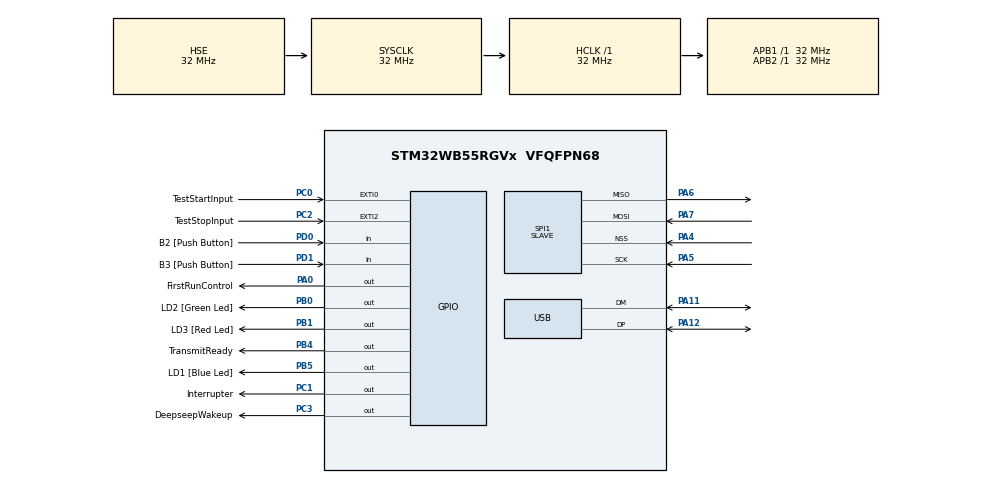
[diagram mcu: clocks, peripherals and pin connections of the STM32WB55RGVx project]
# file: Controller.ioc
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Mcu.Family=STM32WB
Mcu.Name=STM32WB55RGVx
Mcu.Package=VFQFPN68
NVIC.EXTI0_IRQn=true\:0\:0\:false\:false\:true\:true\:true\:true
NVIC.EXTI2_IRQn=true\:0\:0\:false\:false\:true\:true\:true\:true
NVIC.PriorityGroup=NVIC_PRIORITYGROUP_4
OSC_IN.Mode=HSE-External-Oscillator
OSC_IN.Signal=RCC_OSC_IN
OSC_OUT.Mode=HSE-External-Oscillator
OSC_OUT.Signal=RCC_OSC_OUT
PA0.GPIO_Label=FirstRunControl
PA0.GPIO_PuPd=GPIO_PULLDOWN
PA0.Signal=GPIO_Output
PA11.Mode=Device
PA11.Signal=USB_DM
PA12.Mode=Device
PA12.Signal=USB_DP
PA13.GPIO_Label=JTMS
PA13.Mode=Trace_Asynchronous_SW
PA13.Signal=SYS_JTMS-SWDIO
PA14.GPIO_Label=JTCK
PA14.Mode=Trace_Asynchronous_SW
PA14.Signal=SYS_JTCK-SWCLK
PA4.Mode=NSS_Signal_Hard_Input
PA4.Signal=SPI1_NSS
PA5.Mode=Full_Duplex_Slave
PA5.Signal=SPI1_SCK
PA6.Mode=Full_Duplex_Slave
PA6.Signal=SPI1_MISO
PA7.Mode=Full_Duplex_Slave
PA7.Signal=SPI1_MOSI
PB0.GPIO_Label=LD2 [Green Led]
PB0.Signal=GPIO_Output
PB1.GPIO_Label=LD3 [Red Led]
PB1.Signal=GPIO_Output
PB3.GPIO_Label=JTDO
PB3.Mode=Trace_Asynchronous_SW
PB3.Signal=SYS_JTDO-SWO
PB4.GPIO_Label=TransmitReady
PB4.Signal=GPIO_Output
PB5.GPIO_Label=LD1 [Blue Led]
PB5.Signal=GPIO_Output
PC0.GPIO_Label=TestStartInput
PC0.Signal=GPXTI0
PC1.GPIO_Label=Interrupter
PC1.GPIO_PuPd=GPIO_PULLDOWN
PC1.GPIO_Speed=GPIO_SPEED_FREQ_LOW
PC1.Signal=GPIO_Output
PC13.Mode=SYS_WakeUp1
PC13.Signal=SYS_WKUP2
PC14-OSC32_IN.Mode=LSE-External-Oscillator
PC14-OSC32_IN.Signal=RCC_OSC32_IN
PC15-OSC32_OUT.Mode=LSE-External-Oscillator
PC15-OSC32_OUT.Signal=RCC_OSC32_OUT
PC2.GPIO_Label=TestStopInput
PC2.GPIO_PuPd=GPIO_PULLDOWN
PC2.Signal=GPXTI2
PC3.GPIO_Label=DeepseepWakeup
PC3.GPIO_PuPd=GPIO_PULLUP
PC3.PinState=GPIO_PIN_SET
PC3.Signal=GPIO_Output
PD0.GPIO_Label=B2 [Push Button]
PD0.Signal=GPIO_Input
PD1.GPIO_Label=B3 [Push Button]
PD1.Signal=GPIO_Input
ProjectManager.HeapSize=0x200
ProjectManager.StackSize=0x400
ProjectManager.TargetToolchain=STM32CubeIDE
RCC.ADCFreq_Value=48000000
RCC.AHBFreq_Value=32000000
RCC.APB1Freq_Value=32000000
RCC.APB1TimFreq_Value=32000000
RCC.APB2Freq_Value=32000000
RCC.APB2TimFreq_Value=32000000
RCC.APB3Freq_Value=16000000
RCC.CortexFreq_Value=32000000
RCC.HCLKFreq_Value=32000000
RCC.HSE_VALUE=32000000
RCC.HSI48_VALUE=48000000
RCC.HSI_VALUE=16000000
RCC.LSE_Drive_Capability=RCC_LSEDRIVE_LOW
RCC.PLLN=32
RCC.PLLSAI1N=24
RCC.SMPSCLockSelectionVirtual=RCC_SMPSCLKSOURCE_HSI
RCC.SMPSCLockSelectionVirtualVirtual=RCC_SMPSCLKSOURCE_HSI
RCC.SMPSDivider=1
RCC.SYSCLKFreq_VALUE=32000000
RCC.SYSCLKSource=RCC_SYSCLKSOURCE_HSE
RCC.USBFreq_Value=48000000
RCC.VCOOutputFreq_Value=128000000
SPI1.DataSize=SPI_DATASIZE_8BIT
SPI1.Direction=SPI_DIRECTION_2LINES
SPI1.Mode=SPI_MODE_SLAVE
SPI1.VirtualNSS=VM_NSSHARD
SPI1.VirtualType=VM_SLAVE
TIM2.Prescaler=32-1
VP_TIM2_VS_ClockSourceINT.Mode=Internal
board=NUCLEO-WB55RG

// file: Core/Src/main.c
/* USER CODE BEGIN Header */
/**
  ******************************************************************************
  * @file           : main.c
  * @brief          : Main program body
  ******************************************************************************
  * @attention
  *
  * Copyright (c) 2023 STMicroelectronics.
  * All rights reserved.
  *
  * This software is licensed under terms that can be found in the LICENSE file
  * in the root directory of this software component.
  * If no LICENSE file comes with this software, it is provided AS-IS.
  *
  ******************************************************************************
  */
/* USER CODE END Header */
#include "main.h"

/* USER CODE BEGIN Includes */
#include <string.h>
#include <stdio.h>
#include <stdbool.h>
/* USER CODE END Includes */

SPI_HandleTypeDef hspi1;

TIM_HandleTypeDef htim2;

PCD_HandleTypeDef hpcd_USB_FS;

/* USER CODE BEGIN PV */
struct TimeCapture{
	uint32_t startTime;
	uint32_t endTime;
};
uint16_t captures = 0;
struct TimeCapture timeBuff;
struct TimeCapture lastBuff;
_Bool timeBuffReady = false;
_Bool run_test = false;
_Bool finished = false;
_Bool interruptInDeepsleep = true;

//DATA FETCHED FROM SPI
_Bool RecievedTransmitHeader = false;
uint16_t sleep_time;
uint16_t max_amount_of_runs;
uint16_t test_mode = 2;
_Bool test_input_set = false;
//CREATE AFTER DATA HAS BEEN RECIEVED
//struct TimeCapture data_us[MAX_AMOUNT_OF_RUNS];
uint32_t timer_val;
uint32_t debug_value = 1000;
//SPI REGISTER DATA
typedef enum Header {
	SLEEP_TIME = 1,
	RUN_AMOUNT = 2,
	TEST_MODE = 3
} Header;
/* USER CODE END PV */

void SystemClock_Config(void);
void PeriphCommonClock_Config(void);
static void MX_GPIO_Init(void);
static void MX_USB_PCD_Init(void);
static void MX_TIM2_Init(void);
static void MX_SPI1_Init(void);

/* USER CODE BEGIN 0 */
_Bool recieve16Bit(uint16_t *read_to){

	if(HAL_SPI_Receive(&hspi1, (uint8_t*)read_to, 2, 10) == HAL_OK) {
		return true;
	}

	return false;
}

_Bool send16Bit(uint16_t *send){
	if(HAL_SPI_Transmit(&hspi1, (uint8_t*)send, 2,10) == HAL_OK){
		return true;

	}
	return false;
}

void getStartInput(){
	uint8_t header;
		  HAL_StatusTypeDef receive_status = HAL_SPI_Receive(&hspi1, &header, 1, 10);
		  if(receive_status == HAL_OK) {
			  switch((Header)header) {
			  	  case SLEEP_TIME:
			  		  if(!recieve16Bit(&sleep_time)) {
			  			  printf("ERROR COULD NOT RECIEVE SLEEP TIME");
			  		  	  }
					  break;
				  case RUN_AMOUNT:
					  if(!recieve16Bit(&max_amount_of_runs)){
						  printf("ERROR COULD NOT RECIEVE AMOUNT OF RUNS");
					  }

					  break;
				  case TEST_MODE:
					  if(!recieve16Bit(&test_mode)){
						  printf("TEST MODE COULD NOT BE RECIEVED");
					  }
					  break;
				  }
		  }
		  if(test_mode != 2){
			  test_input_set = true;
		  }
}
void sendTestData(uint32_t *times){
	uint16_t index = 0;
	HAL_GPIO_WritePin(TransmitReady_GPIO_Port, TransmitReady_Pin, GPIO_PIN_SET);
	while(index < max_amount_of_runs){
		uint8_t header;
		uint32_t *ptr = &times[index];
		uint16_t value = *((uint16_t*)ptr);
		HAL_StatusTypeDef recieve_status = HAL_SPI_Receive(&hspi1, &header, 1, 10);
		if(recieve_status == HAL_OK){
			if(header == 4){
				if(!send16Bit(&value)){
					printf("COULD NOT SEND DATA");
				}
				index++;
			}
			else{
				printf("STUB");
			}
		}
	}
	HAL_GPIO_WritePin(TransmitReady_GPIO_Port, TransmitReady_Pin, GPIO_PIN_RESET);
}

void calculateTestTimes(struct TimeCapture *data, uint32_t *times){
	for(int i = 0; i < max_amount_of_runs; i++){
		struct TimeCapture *time_ptr = &data[i];
		uint32_t *ptr = &times[i];
		uint32_t start_time = time_ptr->startTime;
		uint32_t end_time = time_ptr->endTime;
		uint32_t fullTime;
		if(end_time >= start_time){
			fullTime = end_time - start_time;
		}
		else{
			fullTime = (TIM2->ARR - start_time) + end_time;
		}
		uint32_t wake_up_time = fullTime - (sleep_time * 1000);
		debug_value = fullTime;
		*ptr = wake_up_time;
	}
}

void sendInterrupt(){
	if(!interruptInDeepsleep){
	HAL_GPIO_WritePin(Interrupter_GPIO_Port, Interrupter_Pin, GPIO_PIN_SET);
	HAL_GPIO_WritePin(Interrupter_GPIO_Port, Interrupter_Pin, GPIO_PIN_RESET);
	}
	else{
		HAL_GPIO_WritePin(DeepseepWakeup_GPIO_Port,DeepseepWakeup_Pin, GPIO_PIN_RESET);
		HAL_Delay(1);
		HAL_GPIO_WritePin(DeepseepWakeup_GPIO_Port, DeepseepWakeup_Pin, GPIO_PIN_SET);
	}
}

void testUsingInterrupts(struct TimeCapture *times){
	int i = 0;
	while(run_test){
		struct TimeCapture *time_ptr = &times[i];
		HAL_Delay(sleep_time);
		sendInterrupt();
		HAL_GPIO_WritePin(FirstRunControl_GPIO_Port, FirstRunControl_Pin, GPIO_PIN_SET);
		while(!timeBuffReady);
		*time_ptr = timeBuff;
		i++;
		timeBuff.startTime = 0;
		timeBuff.endTime = 0;
		timeBuffReady = false;
		if(captures == max_amount_of_runs * 2){
			//FINAL WAKE
			sendInterrupt();
			run_test = false;
		}
	}
}

void testUsingIntervals(struct TimeCapture *times){
	int i = 0;
	while(run_test){
		struct TimeCapture *time_ptr = &times[i];
		while(!timeBuffReady);
		*time_ptr = timeBuff;
		i++;
		lastBuff = timeBuff;
		timeBuff.startTime = 0;
		timeBuff.endTime = 0;
		timeBuffReady = false;
		if(captures == max_amount_of_runs * 2){
			run_test = false;
		}

	}
}

/* USER CODE END 0 */

int main(void)
{

  /* MCU Configuration--------------------------------------------------------*/

  /* Reset of all peripherals, Initializes the Flash interface and the Systick. */
  HAL_Init();

  /* Configure the system clock */
  SystemClock_Config();

/* Configure the peripherals common clocks */
  PeriphCommonClock_Config();

  /* Initialize all configured peripherals */
  MX_GPIO_Init();
  MX_USB_PCD_Init();
  MX_TIM2_Init();
  MX_SPI1_Init();
  /* USER CODE BEGIN 2 */
  HAL_TIM_Base_Start(&htim2);
  /* USER CODE END 2 */

  /* Infinite loop */
  /* USER CODE BEGIN WHILE */
  while (1)
  {
	  if(!finished){
	  if(!test_input_set){
	 	  	  getStartInput();
	 	  }
	 	  else{
	 		  struct TimeCapture times[max_amount_of_runs];
	 		  if(test_mode == 1){
	 			  // RUN TESTS USING ITERRUPTS
	 			  run_test = true;
	 			  testUsingInterrupts(times);
	 			  uint32_t test_times[max_amount_of_runs];
	 			  calculateTestTimes(times,test_times);
	 			  sendTestData(test_times);
	 			  finished = true;
	 		  }
	 		  else{
	 			  run_test = true;
	 			  testUsingIntervals(times);
	 			  uint32_t test_times[max_amount_of_runs];
	 			  calculateTestTimes(times, test_times);
	 			  sendTestData(test_times);
	 			  finished = true;
	 		  }
	 	  }
    /* USER CODE END WHILE */

	  }
  }
}

void SystemClock_Config(void)
{
  RCC_OscInitTypeDef RCC_OscInitStruct = {0};
  RCC_ClkInitTypeDef RCC_ClkInitStruct = {0};

  /** Macro to configure the PLL multiplication factor
  */
  __HAL_RCC_PLL_PLLM_CONFIG(RCC_PLLM_DIV1);

  /** Macro to configure the PLL clock source
  */
  __HAL_RCC_PLL_PLLSOURCE_CONFIG(RCC_PLLSOURCE_MSI);

  /** Configure LSE Drive Capability
  */
  HAL_PWR_EnableBkUpAccess();
  __HAL_RCC_LSEDRIVE_CONFIG(RCC_LSEDRIVE_LOW);

  /** Configure the main internal regulator output voltage
  */
  __HAL_PWR_VOLTAGESCALING_CONFIG(PWR_REGULATOR_VOLTAGE_SCALE1);

  /** Initializes the RCC Oscillators according to the specified parameters
  * in the RCC_OscInitTypeDef structure.
  */
  RCC_OscInitStruct.OscillatorType = RCC_OSCILLATORTYPE_HSI|RCC_OSCILLATORTYPE_HSE
                              |RCC_OSCILLATORTYPE_LSE|RCC_OSCILLATORTYPE_MSI;
  RCC_OscInitStruct.HSEState = RCC_HSE_ON;
  RCC_OscInitStruct.LSEState = RCC_LSE_ON;
  RCC_OscInitStruct.HSIState = RCC_HSI_ON;
  RCC_OscInitStruct.MSIState = RCC_MSI_ON;
  RCC_OscInitStruct.HSICalibrationValue = RCC_HSICALIBRATION_DEFAULT;
  RCC_OscInitStruct.MSICalibrationValue = RCC_MSICALIBRATION_DEFAULT;
  RCC_OscInitStruct.MSIClockRange = RCC_MSIRANGE_6;
  RCC_OscInitStruct.PLL.PLLState = RCC_PLL_NONE;
  if (HAL_RCC_OscConfig(&RCC_OscInitStruct) != HAL_OK)
  {
    Error_Handler();
  }

  /** Configure the SYSCLKSource, HCLK, PCLK1 and PCLK2 clocks dividers
  */
  RCC_ClkInitStruct.ClockType = RCC_CLOCKTYPE_HCLK4|RCC_CLOCKTYPE_HCLK2
                              |RCC_CLOCKTYPE_HCLK|RCC_CLOCKTYPE_SYSCLK
                              |RCC_CLOCKTYPE_PCLK1|RCC_CLOCKTYPE_PCLK2;
  RCC_ClkInitStruct.SYSCLKSource = RCC_SYSCLKSOURCE_HSE;
  RCC_ClkInitStruct.AHBCLKDivider = RCC_SYSCLK_DIV1;
  RCC_ClkInitStruct.APB1CLKDivider = RCC_HCLK_DIV1;
  RCC_ClkInitStruct.APB2CLKDivider = RCC_HCLK_DIV1;
  RCC_ClkInitStruct.AHBCLK2Divider = RCC_SYSCLK_DIV1;
  RCC_ClkInitStruct.AHBCLK4Divider = RCC_SYSCLK_DIV1;

  if (HAL_RCC_ClockConfig(&RCC_ClkInitStruct, FLASH_LATENCY_1) != HAL_OK)
  {
    Error_Handler();
  }

  /** Enable MSI Auto calibration
  */
  HAL_RCCEx_EnableMSIPLLMode();
}

void PeriphCommonClock_Config(void)
{
  RCC_PeriphCLKInitTypeDef PeriphClkInitStruct = {0};

  /** Initializes the peripherals clock
  */
  PeriphClkInitStruct.PeriphClockSelection = RCC_PERIPHCLK_SMPS;
  PeriphClkInitStruct.SmpsClockSelection = RCC_SMPSCLKSOURCE_HSI;
  PeriphClkInitStruct.SmpsDivSelection = RCC_SMPSCLKDIV_RANGE0;

  if (HAL_RCCEx_PeriphCLKConfig(&PeriphClkInitStruct) != HAL_OK)
  {
    Error_Handler();
  }
}

static void MX_SPI1_Init(void)
{

  /* SPI1 parameter configuration*/
  hspi1.Instance = SPI1;
  hspi1.Init.Mode = SPI_MODE_SLAVE;
  hspi1.Init.Direction = SPI_DIRECTION_2LINES;
  hspi1.Init.DataSize = SPI_DATASIZE_8BIT;
  hspi1.Init.CLKPolarity = SPI_POLARITY_LOW;
  hspi1.Init.CLKPhase = SPI_PHASE_1EDGE;
  hspi1.Init.NSS = SPI_NSS_HARD_INPUT;
  hspi1.Init.FirstBit = SPI_FIRSTBIT_MSB;
  hspi1.Init.TIMode = SPI_TIMODE_DISABLE;
  hspi1.Init.CRCCalculation = SPI_CRCCALCULATION_DISABLE;
  hspi1.Init.CRCPolynomial = 7;
  hspi1.Init.CRCLength = SPI_CRC_LENGTH_DATASIZE;
  hspi1.Init.NSSPMode = SPI_NSS_PULSE_DISABLE;
  if (HAL_SPI_Init(&hspi1) != HAL_OK)
  {
    Error_Handler();
  }

}

static void MX_TIM2_Init(void)
{

  TIM_ClockConfigTypeDef sClockSourceConfig = {0};
  TIM_MasterConfigTypeDef sMasterConfig = {0};

  htim2.Instance = TIM2;
  htim2.Init.Prescaler = 32-1;
  htim2.Init.CounterMode = TIM_COUNTERMODE_UP;
  htim2.Init.Period = 4294967295;
  htim2.Init.ClockDivision = TIM_CLOCKDIVISION_DIV1;
  htim2.Init.AutoReloadPreload = TIM_AUTORELOAD_PRELOAD_DISABLE;
  if (HAL_TIM_Base_Init(&htim2) != HAL_OK)
  {
    Error_Handler();
  }
  sClockSourceConfig.ClockSource = TIM_CLOCKSOURCE_INTERNAL;
  if (HAL_TIM_ConfigClockSource(&htim2, &sClockSourceConfig) != HAL_OK)
  {
    Error_Handler();
  }
  sMasterConfig.MasterOutputTrigger = TIM_TRGO_RESET;
  sMasterConfig.MasterSlaveMode = TIM_MASTERSLAVEMODE_DISABLE;
  if (HAL_TIMEx_MasterConfigSynchronization(&htim2, &sMasterConfig) != HAL_OK)
  {
    Error_Handler();
  }

}

static void MX_USB_PCD_Init(void)
{

  hpcd_USB_FS.Instance = USB;
  hpcd_USB_FS.Init.dev_endpoints = 8;
  hpcd_USB_FS.Init.speed = PCD_SPEED_FULL;
  hpcd_USB_FS.Init.phy_itface = PCD_PHY_EMBEDDED;
  hpcd_USB_FS.Init.Sof_enable = DISABLE;
  hpcd_USB_FS.Init.low_power_enable = DISABLE;
  hpcd_USB_FS.Init.lpm_enable = DISABLE;
  hpcd_USB_FS.Init.battery_charging_enable = DISABLE;
  if (HAL_PCD_Init(&hpcd_USB_FS) != HAL_OK)
  {
    Error_Handler();
  }

}

static void MX_GPIO_Init(void)
{
  GPIO_InitTypeDef GPIO_InitStruct = {0};

  /* GPIO Ports Clock Enable */
  __HAL_RCC_GPIOC_CLK_ENABLE();
  __HAL_RCC_GPIOA_CLK_ENABLE();
  __HAL_RCC_GPIOB_CLK_ENABLE();
  __HAL_RCC_GPIOD_CLK_ENABLE();

  /*Configure GPIO pin Output Level */
  HAL_GPIO_WritePin(Interrupter_GPIO_Port, Interrupter_Pin, GPIO_PIN_RESET);

  /*Configure GPIO pin Output Level */
  HAL_GPIO_WritePin(DeepseepWakeup_GPIO_Port, DeepseepWakeup_Pin, GPIO_PIN_SET);

  /*Configure GPIO pin Output Level */
  HAL_GPIO_WritePin(FirstRunControl_GPIO_Port, FirstRunControl_Pin, GPIO_PIN_RESET);

  /*Configure GPIO pin Output Level */
  HAL_GPIO_WritePin(GPIOB, LD2_Pin|LD3_Pin|TransmitReady_Pin|LD1_Pin, GPIO_PIN_RESET);

  /*Configure GPIO pin : TestStartInput_Pin */
  GPIO_InitStruct.Pin = TestStartInput_Pin;
  GPIO_InitStruct.Mode = GPIO_MODE_IT_RISING;
  GPIO_InitStruct.Pull = GPIO_NOPULL;
  HAL_GPIO_Init(TestStartInput_GPIO_Port, &GPIO_InitStruct);

  /*Configure GPIO pin : Interrupter_Pin */
  GPIO_InitStruct.Pin = Interrupter_Pin;
  GPIO_InitStruct.Mode = GPIO_MODE_OUTPUT_PP;
  GPIO_InitStruct.Pull = GPIO_PULLDOWN;
  GPIO_InitStruct.Speed = GPIO_SPEED_FREQ_LOW;
  HAL_GPIO_Init(Interrupter_GPIO_Port, &GPIO_InitStruct);

  /*Configure GPIO pin : TestStopInput_Pin */
  GPIO_InitStruct.Pin = TestStopInput_Pin;
  GPIO_InitStruct.Mode = GPIO_MODE_IT_RISING;
  GPIO_InitStruct.Pull = GPIO_PULLDOWN;
  HAL_GPIO_Init(TestStopInput_GPIO_Port, &GPIO_InitStruct);

  /*Configure GPIO pin : DeepseepWakeup_Pin */
  GPIO_InitStruct.Pin = DeepseepWakeup_Pin;
  GPIO_InitStruct.Mode = GPIO_MODE_OUTPUT_PP;
  GPIO_InitStruct.Pull = GPIO_PULLUP;
  GPIO_InitStruct.Speed = GPIO_SPEED_FREQ_LOW;
  HAL_GPIO_Init(DeepseepWakeup_GPIO_Port, &GPIO_InitStruct);

  /*Configure GPIO pin : FirstRunControl_Pin */
  GPIO_InitStruct.Pin = FirstRunControl_Pin;
  GPIO_InitStruct.Mode = GPIO_MODE_OUTPUT_PP;
  GPIO_InitStruct.Pull = GPIO_PULLDOWN;
  GPIO_InitStruct.Speed = GPIO_SPEED_FREQ_LOW;
  HAL_GPIO_Init(FirstRunControl_GPIO_Port, &GPIO_InitStruct);

  /*Configure GPIO pins : LD2_Pin LD3_Pin TransmitReady_Pin LD1_Pin */
  GPIO_InitStruct.Pin = LD2_Pin|LD3_Pin|TransmitReady_Pin|LD1_Pin;
  GPIO_InitStruct.Mode = GPIO_MODE_OUTPUT_PP;
  GPIO_InitStruct.Pull = GPIO_NOPULL;
  GPIO_InitStruct.Speed = GPIO_SPEED_FREQ_LOW;
  HAL_GPIO_Init(GPIOB, &GPIO_InitStruct);

  /*Configure GPIO pins : B2_Pin B3_Pin */
  GPIO_InitStruct.Pin = B2_Pin|B3_Pin;
  GPIO_InitStruct.Mode = GPIO_MODE_INPUT;
  GPIO_InitStruct.Pull = GPIO_NOPULL;
  HAL_GPIO_Init(GPIOD, &GPIO_InitStruct);

  /* EXTI interrupt init*/
  HAL_NVIC_SetPriority(EXTI0_IRQn, 0, 0);
  HAL_NVIC_EnableIRQ(EXTI0_IRQn);

  HAL_NVIC_SetPriority(EXTI2_IRQn, 0, 0);
  HAL_NVIC_EnableIRQ(EXTI2_IRQn);

}

/* USER CODE BEGIN 4 */
void HAL_GPIO_EXTI_Callback(uint16_t GPIO_Pin){

	if(GPIO_Pin == TestStartInput_Pin){
		timeBuff.startTime = __HAL_TIM_GET_COUNTER(&htim2);

		if(captures < max_amount_of_runs*2){
			captures++;
		}

	}

	if(GPIO_Pin == TestStopInput_Pin){
		timeBuff.endTime = __HAL_TIM_GET_COUNTER(&htim2);
		if(timeBuff.endTime != 0){
		timeBuffReady = true;
		}
		if(captures < max_amount_of_runs * 2){
			captures++;
		}
	}

}

/* USER CODE END 4 */

void Error_Handler(void)
{
  __disable_irq();
  while (1)
  {
  }
}
